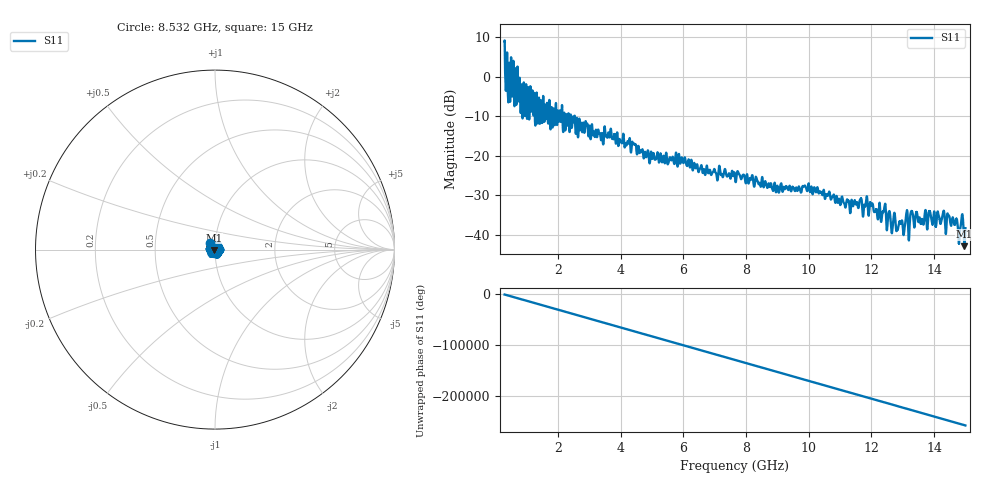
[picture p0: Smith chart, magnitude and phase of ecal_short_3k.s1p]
# GHZ S RI R 50.0
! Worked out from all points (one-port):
!   12801 points, 300 MHz to 15 GHz, reference 50 ohm
!   lowest |S11| = -42.9 dB at 14.97 GHz (marker M1), VSWR 1.01, Z = 49.3 - j0.229 ohm
!   |S11| at or under -10 dB: 2.345 GHz to 2.402 GHz (57.44 MHz wide, 2.42 % of centre); 2.413 GHz to 2.529 GHz (115.4 MHz wide, 4.67 % of centre); 2.536 GHz to end of sweep (the widest 3 of 22)
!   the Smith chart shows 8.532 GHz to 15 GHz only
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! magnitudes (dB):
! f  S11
! 300 MHz  8.9
! 406.8 MHz  -4.6
! 713.4 MHz  2.2
! 880 MHz  -10.3
! 1.181 GHz  -4.3
! 1.422 GHz  -11.9
! 1.591 GHz  -8.0
! 1.824 GHz  -12.6
! 2.138 GHz  -8.0
! 3.975 GHz  -15.9
! 4.426 GHz  -16.9
! 4.963 GHz  -19.3
! 5.812 GHz  -22.6
! 6.662 GHz  -23.5
! 7.65 GHz  -25.6
! 9.488 GHz  -27.8
! 10.23 GHz  -29.2
! 11.32 GHz  -34.5
! 12.01 GHz  -32.6
! 12.26 GHz  -31.9
! 12.4 GHz  -33.8
! 12.84 GHz  -38.6
! 13.16 GHz  -35.9
! 13.29 GHz  -34.0
! 13.62 GHz  -36.1
! 14.28 GHz  -34.7
! 14.97 GHz  -42.9
! 15 GHz  -38.4
